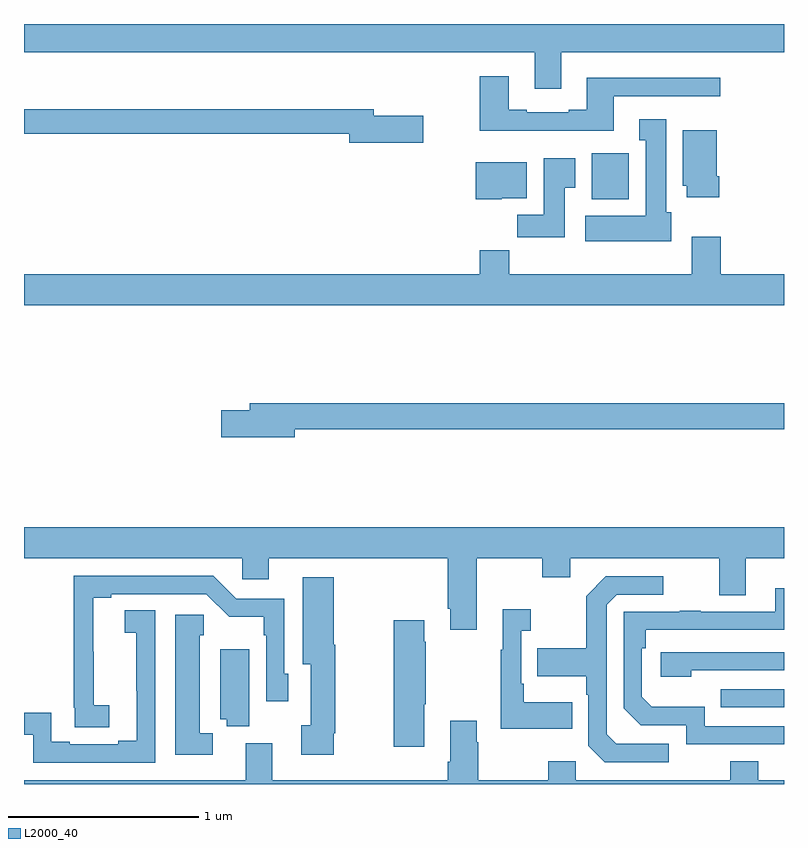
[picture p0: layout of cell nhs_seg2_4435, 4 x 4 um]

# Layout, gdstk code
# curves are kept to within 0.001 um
import gdstk
lib = gdstk.Library(unit=1e-6, precision=1e-09)
def R(c, l, rs):  # rectangles x0, y0, x1, y1
    for r in rs: c.add(gdstk.rectangle(r[:2], r[2:], *l))
def P(c, l, *ps):  # polygons
    for p in ps: c.add(gdstk.Polygon(p, *l))
L2000_40 = (2000, 40)

nhs_seg2_4435 = lib.new_cell('nhs_seg2_4435')
R(nhs_seg2_4435, L2000_40, [(354.667,628.203,355,628.299), (353.987,630.878,354.184,631.12)])
P(nhs_seg2_4435, L2000_40, [(353.827,631.652),(355,631.652),(355,631.8),(351,631.8),(351,631.652),(353.687,631.652),(353.687,631.458),(353.827,631.458)],
  [(354.103,631.419),(354.664,631.419),(354.664,631.516),(353.963,631.516),(353.963,631.348),(353.867,631.348),(353.867,631.335),(353.647,631.335),(353.647,631.348),(353.551,631.348),(353.551,631.525),(353.399,631.525),(353.399,631.238),(354.103,631.238)],
  [(353.101,631.317),(352.84,631.317),(352.84,631.351),(351,631.351),(351,631.222),(352.712,631.222),(352.712,631.175),(353.101,631.175)],
  [(354.406,630.81),(354.379,630.81),(354.379,631.3),(354.239,631.3),(354.239,631.187),(354.272,631.187),(354.272,630.79),(353.955,630.79),(353.955,630.656),(354.406,630.656)],
  [(354.659,631),(354.646,631),(354.646,631.24),(354.467,631.24),(354.467,630.948),(354.488,630.948),(354.488,630.888),(354.659,630.888)],
  [(353.845,630.937),(353.902,630.937),(353.902,631.093),(353.735,631.093),(353.735,630.796),(353.596,630.796),(353.596,630.678),(353.845,630.678)],
  [(353.514,630.884),(353.647,630.884),(353.647,631.072),(353.378,631.072),(353.378,630.878),(353.514,630.878)],
  [(355,630.484),(354.668,630.484),(354.668,630.679),(354.515,630.679),(354.515,630.484),(353.555,630.484),(353.555,630.608),(353.399,630.608),(353.399,630.484),(351,630.484),(351,630.32),(355,630.32)],
  [(352.426,629.668),(355,629.668),(355,629.804),(352.187,629.804),(352.187,629.768),(352.038,629.768),(352.038,629.626),(352.426,629.626)],
  [(353.383,628.988),(353.728,628.988),(353.728,628.889),(353.875,628.889),(353.875,628.988),(354.659,628.988),(354.659,628.794),(354.799,628.794),(354.799,628.988),(355,628.988),(355,629.152),(351,629.152),(351,628.988),(352.149,628.988),(352.149,628.878),(352.288,628.878),(352.288,628.988),(353.231,628.988),(353.231,628.723),(353.243,628.723),(353.243,628.611),(353.383,628.611)],
  [(351.448,628.214),(351.366,628.214),(351.364,628.78),(351.46,628.78),(351.46,628.8),(351.96,628.8),(352.081,628.679),(352.263,628.679),(352.263,628.583),(352.275,628.583),(352.275,628.236),(352.392,628.236),(352.392,628.38),(352.371,628.38),(352.371,628.776),(352.116,628.776),(351.996,628.896),(351.262,628.896),(351.262,628.201),(351.268,628.201),(351.268,628.099),(351.448,628.099)],
  [(354.394,628.011),(354.117,628.011),(354.066,628.062),(354.066,628.743),(354.12,628.797),(354.364,628.797),(354.364,628.893),(354.063,628.893),(353.958,628.787),(353.958,628.515),(353.701,628.515),(353.701,628.367),(353.958,628.367),(353.958,628.271),(353.97,628.271),(353.97,628.002),(354.057,627.915),(354.394,627.915)],
  [(352.63,628.066),(352.638,628.066),(352.638,628.534),(352.63,628.534),(352.63,628.888),(352.466,628.888),(352.466,628.43),(352.508,628.43),(352.508,628.11),(352.458,628.11),(352.458,627.954),(352.63,627.954)],
  [(355,628.104),(354.582,628.104),(354.582,628.207),(354.305,628.207),(354.252,628.26),(354.252,628.514),(354.272,628.514),(354.272,628.611),(355,628.612),(355,628.831),(354.953,628.831),(354.953,628.707),(354.563,628.707),(354.563,628.712),(354.451,628.712),(354.451,628.707),(354.156,628.707),(354.156,628.2),(354.246,628.11),(354.486,628.11),(354.486,628.008),(355,628.008)],
  [(353.885,628.231),(353.629,628.231),(353.629,628.327),(353.616,628.327),(353.616,628.607),(353.668,628.607),(353.668,628.72),(353.519,628.72),(353.519,628.507),(353.508,628.507),(353.508,628.091),(353.885,628.091)],
  [(351.69,628.715),(351.531,628.715),(351.531,628.595),(351.592,628.595),(351.592,628.291),(351.593,628.291),(351.593,628.028),(351.497,628.028),(351.497,628.008),(351.241,628.008),(351.241,628.022),(351.144,628.022),(351.144,628.175),(351,628.175),(351,628.058),(351.048,628.058),(351.048,627.912),(351.69,627.912)],
  [(351.994,628.068),(351.925,628.068),(351.925,628.584),(351.947,628.584),(351.947,628.69),(351.797,628.69),(351.797,627.953),(351.994,627.953)],
  [(353.107,628.219),(353.115,628.219),(353.115,628.55),(353.107,628.55),(353.107,628.663),(352.945,628.663),(352.945,627.996),(353.107,627.996)],
  [(352.186,628.51),(352.034,628.51),(352.034,628.142),(352.066,628.142),(352.066,628.105),(352.186,628.105)],
  [(354.512,628.398),(355,628.398),(355,628.494),(354.351,628.494),(354.351,628.364),(354.512,628.364)],
  [(355,627.82),(354.865,627.82),(354.865,627.919),(354.718,627.919),(354.718,627.82),(353.904,627.82),(353.904,627.919),(353.758,627.919),(353.758,627.82),(353.391,627.82),(353.391,628.019),(353.383,628.019),(353.383,628.132),(353.243,628.132),(353.243,627.916),(353.231,627.916),(353.231,627.82),(352.306,627.82),(352.306,628.015),(352.166,628.015),(352.166,627.82),(351,627.82),(351,627.8),(355,627.8)])

lib.write_gds('nhs_seg2_4435.gds')
